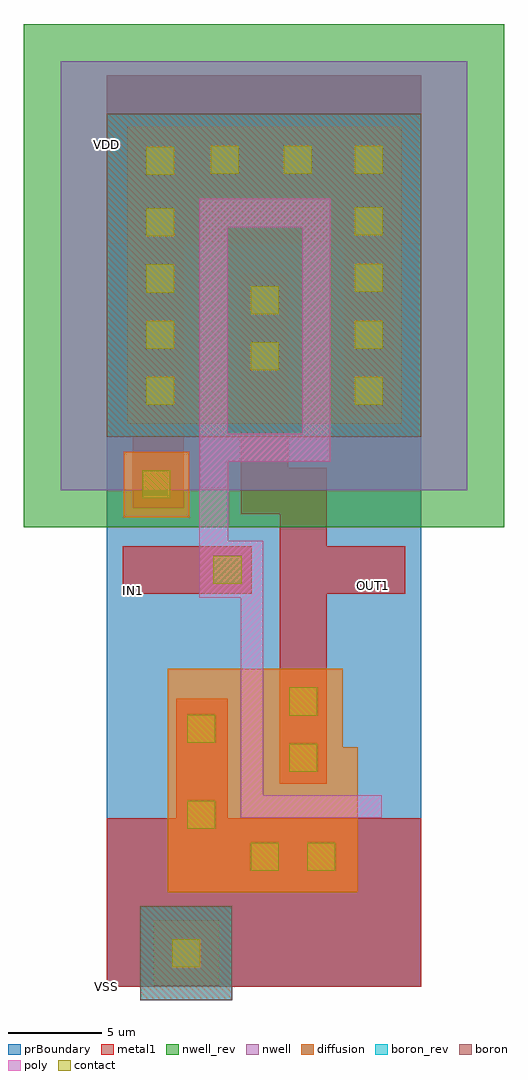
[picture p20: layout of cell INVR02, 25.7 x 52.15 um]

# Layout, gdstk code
import gdstk
lib = gdstk.Library(unit=1e-6, precision=1e-09)
def R(c, l, rs):  # rectangles x0, y0, x1, y1
    for r in rs: c.add(gdstk.rectangle(r[:2], r[2:], *l))
def A(c, l, x, y, w, h, nx, ny, dx, dy):  # array of equal rectangles
    R(c, l, [(x+i*dx, y+j*dy, x+i*dx+w, y+j*dy+h) for i in range(nx) for j in range(ny)])
def P(c, l, *ps):  # polygons
    for p in ps: c.add(gdstk.Polygon(p, *l))
nwell = (1, 0)
diffusion = (2, 0)
nwell_rev = (3, 0)
poly = (4, 0)
boron = (5, 0)
boron_rev = (6, 0)
contact = (7, 0)
metal1 = (8, 0)
prBoundary = (28, 0)

invr02 = lib.new_cell('INVR02')
R(invr02, nwell, [(-2.45,26.55,19.25,49.45)])
R(invr02, diffusion, [(2.5,0.05,6,3.55), (0.9,25.1,4.4,28.6), (1.1,30.1,15.75,45.95)])
P(invr02, diffusion, [(3.25,5.05),(3.25,17),(12.6,17),(12.6,12.8),(13.4,12.8),(13.4,5.05)])
R(invr02, nwell_rev, [(-4.45,24.55,21.25,51.45)])
P(invr02, poly, [(7.15,9.05),(7.15,20.8),(4.95,20.8),(4.95,42.1),(10.45,42.1),(10.45,40.6),(6.45,40.6),(6.45,29.55),(10.45,29.55),(10.45,42.1),(11.95,42.1),(11.95,28.05),(6.5,28.05),(6.5,23.85),(8.35,23.85),(8.35,10.25),(14.7,10.25),(14.7,9.05)])
R(invr02, boron, [(1.8,-0.7,6.7,4.3), (0,29.4,16.8,46.65)])
R(invr02, boron_rev, [(1.8,-0.7,6.7,4.3), (0,29.4,16.8,46.65)])
A(invr02, contact, 2.1, 31.1, 1.5, 1.5, 1, 4, 0, 3)
R(invr02, contact, [(3.5,1.05,5,2.55), (7.7,6.2,9.2,7.7), (10.7,6.2,12.2,7.7), (4.3,8.45,5.8,9.95), (9.75,11.5,11.25,13), (4.3,13.05,5.8,14.55), (9.75,14.5,11.25,16), (5.7,21.55,7.2,23.05), (1.9,26.1,3.4,27.6), (13.25,31.1,14.75,32.6), (7.7,32.95,9.2,34.45), (13.25,34.1,14.75,35.6), (7.7,35.95,9.2,37.45), (13.25,37.15,14.75,38.65), (13.25,37.15,14.75,38.6), (13.25,40.15,14.75,41.65), (13.25,40.15,14.75,41.6), (2.1,43.4,3.6,44.9), (5.55,43.45,7.05,44.95), (9.45,43.45,10.95,44.95), (13.25,43.45,14.75,44.95)])
R(invr02, metal1, [(0,0,16.8,9), (0.85,21,3.35,23.5), (0.85,21,7.75,23.55), (13.45,21,15.95,23.5), (0,39.7,16.8,48.7)])
P(invr02, metal1, [(9.25,10.85),(9.25,25.25),(7.15,25.25),(7.15,38.1),(9.7,38.1),(9.7,27.75),(11.75,27.75),(11.75,23.55),(15.95,23.55),(15.95,21),(11.75,21),(11.75,10.85)],
  [(0,0),(0,9),(3.7,9),(3.7,15.4),(6.45,15.4),(6.45,9),(16.8,9),(16.8,0)],
  [(1.4,25.6),(1.4,39.7),(0,39.7),(0,48.7),(16.8,48.7),(16.8,39.7),(15.3,39.7),(15.3,30.6),(12.7,30.6),(12.7,39.7),(4.1,39.7),(4.1,25.6)])
R(invr02, prBoundary, [(0,0,16.8,48.7)])
invr02.add(gdstk.Label('VSS', (0.001,0.001), layer=8, texttype=7))
invr02.add(gdstk.Label('VDD', (0.002,45), layer=8, texttype=7))
invr02.add(gdstk.Label('IN1', (1.45,21.2), layer=8, texttype=7))
invr02.add(gdstk.Label('OUT1', (14.25,21.45), layer=8, texttype=7))

lib.write_gds('INVR02.gds')
